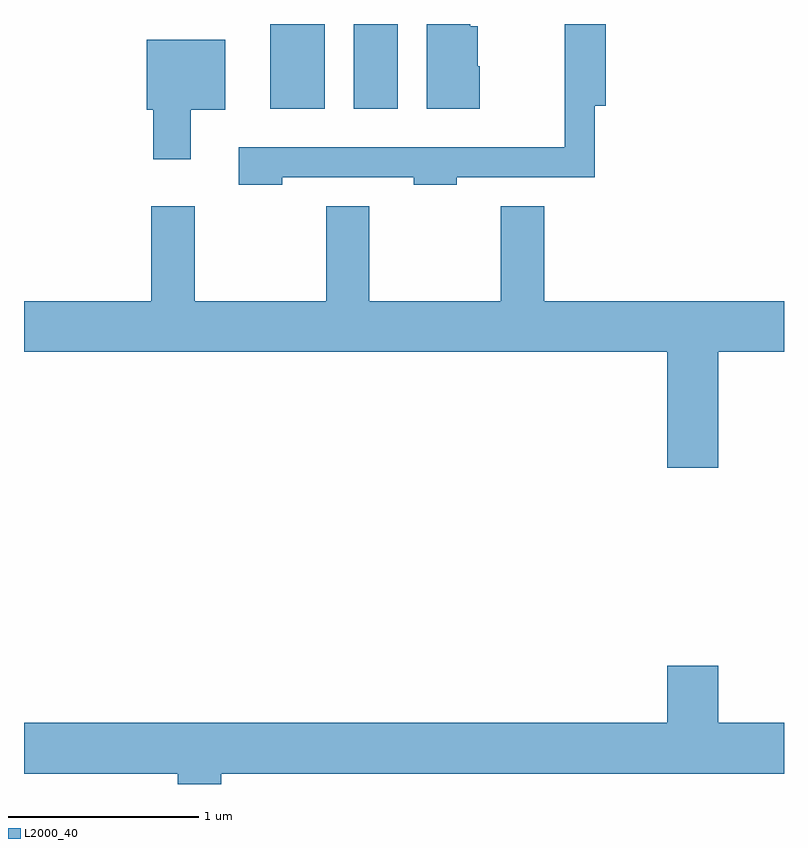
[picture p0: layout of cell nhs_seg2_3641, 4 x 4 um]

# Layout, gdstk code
import gdstk
lib = gdstk.Library(unit=1e-6, precision=1e-09)
def R(c, l, rs):  # rectangles x0, y0, x1, y1
    for r in rs: c.add(gdstk.rectangle(r[:2], r[2:], *l))
def P(c, l, *ps):  # polygons
    for p in ps: c.add(gdstk.Polygon(p, *l))
L2000_40 = (2000, 40)

nhs_seg2_3641 = lib.new_cell('nhs_seg2_3641')
R(nhs_seg2_3641, L2000_40, [(292.906,1067.356,293.194,1067.802), (293.346,1067.356,293.579,1067.802)])
P(nhs_seg2_3641, L2000_40, [(292.969,1066.996),(293.661,1066.996),(293.661,1066.956),(293.889,1066.956),(293.889,1066.996),(294.614,1066.996),(294.614,1067.371),(294.674,1067.371),(294.674,1067.802),(294.456,1067.802),(294.456,1067.154),(292.741,1067.154),(292.741,1066.956),(292.969,1066.956)],
  [(294.009,1067.58),(293.999,1067.58),(293.999,1067.789),(293.959,1067.789),(293.959,1067.802),(293.731,1067.802),(293.731,1067.356),(294.009,1067.356)],
  [(292.489,1067.351),(292.669,1067.351),(292.669,1067.719),(292.256,1067.719),(292.256,1067.351),(292.291,1067.351),(292.291,1067.091),(292.489,1067.091)],
  [(295.264,1066.076),(295.611,1066.076),(295.611,1066.344),(294.349,1066.344),(294.349,1066.844),(294.121,1066.844),(294.121,1066.344),(293.429,1066.344),(293.429,1066.844),(293.201,1066.844),(293.201,1066.344),(292.509,1066.344),(292.509,1066.844),(292.281,1066.844),(292.281,1066.344),(291.611,1066.344),(291.611,1066.076),(294.996,1066.076),(294.996,1065.466),(295.264,1065.466)],
  [(291.611,1063.856),(292.421,1063.856),(292.421,1063.802),(292.649,1063.802),(292.649,1063.856),(295.611,1063.856),(295.611,1064.124),(295.264,1064.124),(295.264,1064.424),(294.996,1064.424),(294.996,1064.124),(291.611,1064.124)])

lib.write_gds('nhs_seg2_3641.gds')
